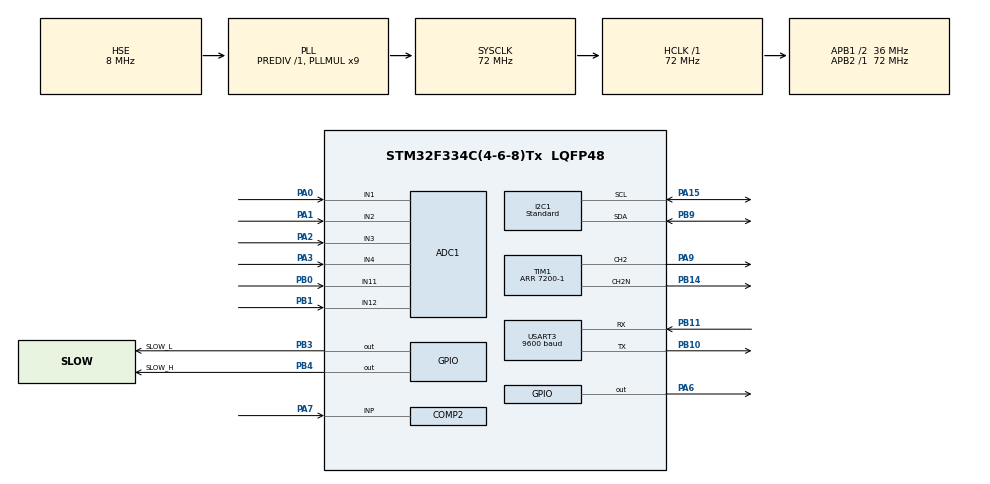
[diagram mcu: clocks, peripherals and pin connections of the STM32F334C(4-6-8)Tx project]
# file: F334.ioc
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ADC1.Channel-10\#ChannelRegularConversion=ADC_CHANNEL_11
ADC1.Channel-11\#ChannelRegularConversion=ADC_CHANNEL_12
ADC1.Channel-6\#ChannelRegularConversion=ADC_CHANNEL_1
ADC1.Channel-7\#ChannelRegularConversion=ADC_CHANNEL_2
ADC1.Channel-8\#ChannelRegularConversion=ADC_CHANNEL_3
ADC1.Channel-9\#ChannelRegularConversion=ADC_CHANNEL_4
ADC1.ContinuousConvMode=ENABLE
ADC1.EnableInjectedConversion=DISABLE
ADC1.EnableRegularConversion=ENABLE
ADC1.ExternalTrigConv=ADC_EXTERNALTRIGCONV_T6_TRGO
ADC1.NbrOfConversion=6
ADC1.NbrOfConversionFlag=1
ADC1.Offset-10\#ChannelRegularConversion=0
ADC1.Offset-11\#ChannelRegularConversion=0
ADC1.Offset-6\#ChannelRegularConversion=0
ADC1.Offset-7\#ChannelRegularConversion=0
ADC1.Offset-8\#ChannelRegularConversion=0
ADC1.Offset-9\#ChannelRegularConversion=0
ADC1.OffsetNumber-10\#ChannelRegularConversion=ADC_OFFSET_NONE
ADC1.OffsetNumber-11\#ChannelRegularConversion=ADC_OFFSET_NONE
ADC1.OffsetNumber-6\#ChannelRegularConversion=ADC_OFFSET_NONE
ADC1.OffsetNumber-7\#ChannelRegularConversion=ADC_OFFSET_NONE
ADC1.OffsetNumber-8\#ChannelRegularConversion=ADC_OFFSET_NONE
ADC1.OffsetNumber-9\#ChannelRegularConversion=ADC_OFFSET_NONE
ADC1.Rank-10\#ChannelRegularConversion=5
ADC1.Rank-11\#ChannelRegularConversion=6
ADC1.Rank-6\#ChannelRegularConversion=1
ADC1.Rank-7\#ChannelRegularConversion=2
ADC1.Rank-8\#ChannelRegularConversion=3
ADC1.Rank-9\#ChannelRegularConversion=4
ADC1.SamplingTime-10\#ChannelRegularConversion=ADC_SAMPLETIME_1CYCLE_5
ADC1.SamplingTime-11\#ChannelRegularConversion=ADC_SAMPLETIME_1CYCLE_5
ADC1.SamplingTime-6\#ChannelRegularConversion=ADC_SAMPLETIME_1CYCLE_5
ADC1.SamplingTime-7\#ChannelRegularConversion=ADC_SAMPLETIME_1CYCLE_5
ADC1.SamplingTime-8\#ChannelRegularConversion=ADC_SAMPLETIME_1CYCLE_5
ADC1.SamplingTime-9\#ChannelRegularConversion=ADC_SAMPLETIME_1CYCLE_5
ADC1.SamplingTimeOPAMP-10\#ChannelRegularConversion=ADC_SAMPLETIME_61CYCLES_5
ADC1.SamplingTimeOPAMP-11\#ChannelRegularConversion=ADC_SAMPLETIME_61CYCLES_5
ADC1.SamplingTimeOPAMP-7\#ChannelRegularConversion=ADC_SAMPLETIME_61CYCLES_5
ADC1.SamplingTimeOPAMP-8\#ChannelRegularConversion=ADC_SAMPLETIME_61CYCLES_5
ADC1.SamplingTimeOPAMP-9\#ChannelRegularConversion=ADC_SAMPLETIME_61CYCLES_5
ADC1.SubFamily=STM32F334x8
ADC1.master=1
COMP2.InvertingInput=COMP_INVERTINGINPUT_DAC1_CH2
COMP2.TriggerMode=COMP_TRIGGERMODE_IT_RISING
DAC1.DAC_Trigger2=DAC_TRIGGER_SOFTWARE
Dma.ADC1.0.Direction=DMA_PERIPH_TO_MEMORY
Dma.ADC1.0.Instance=DMA1_Channel1
Dma.ADC1.0.MemDataAlignment=DMA_MDATAALIGN_HALFWORD
Dma.ADC1.0.MemInc=DMA_MINC_ENABLE
Dma.ADC1.0.Mode=DMA_CIRCULAR
Dma.ADC1.0.PeriphDataAlignment=DMA_PDATAALIGN_HALFWORD
Dma.ADC1.0.PeriphInc=DMA_PINC_DISABLE
Dma.ADC1.0.Priority=DMA_PRIORITY_LOW
Dma.Request0=ADC1
Dma.Request1=USART3_RX
Dma.Request2=USART3_TX
Dma.USART3_RX.1.Direction=DMA_PERIPH_TO_MEMORY
Dma.USART3_RX.1.Instance=DMA1_Channel3
Dma.USART3_RX.1.MemDataAlignment=DMA_MDATAALIGN_BYTE
Dma.USART3_RX.1.MemInc=DMA_MINC_ENABLE
Dma.USART3_RX.1.Mode=DMA_NORMAL
Dma.USART3_RX.1.PeriphDataAlignment=DMA_PDATAALIGN_BYTE
Dma.USART3_RX.1.PeriphInc=DMA_PINC_DISABLE
Dma.USART3_RX.1.Priority=DMA_PRIORITY_LOW
Dma.USART3_TX.2.Direction=DMA_MEMORY_TO_PERIPH
Dma.USART3_TX.2.Instance=DMA1_Channel2
Dma.USART3_TX.2.MemDataAlignment=DMA_MDATAALIGN_BYTE
Dma.USART3_TX.2.MemInc=DMA_MINC_ENABLE
Dma.USART3_TX.2.Mode=DMA_NORMAL
Dma.USART3_TX.2.PeriphDataAlignment=DMA_PDATAALIGN_BYTE
Dma.USART3_TX.2.PeriphInc=DMA_PINC_DISABLE
Dma.USART3_TX.2.Priority=DMA_PRIORITY_LOW
I2C1.I2C_Speed_Mode=I2C_Standard
I2C1.Speed=80
I2C1.Timing=0x00101E3F
Mcu.Family=STM32F3
Mcu.Name=STM32F334C(4-6-8)Tx
Mcu.Package=LQFP48
NVIC.COMP2_IRQn=true\:1\:0\:true\:false\:true\:false\:true
NVIC.DMA1_Channel1_IRQn=true\:7\:0\:true\:false\:true\:false\:true
NVIC.DMA1_Channel2_IRQn=true\:0\:0\:false\:false\:true\:false\:true
NVIC.DMA1_Channel3_IRQn=true\:0\:0\:false\:false\:true\:false\:true
NVIC.PriorityGroup=NVIC_PRIORITYGROUP_4
NVIC.TIM1_TRG_COM_TIM17_IRQn=true\:1\:0\:true\:false\:true\:true\:true
NVIC.TIM1_UP_TIM16_IRQn=true\:0\:0\:false\:false\:true\:true\:true
NVIC.USART3_IRQn=true\:0\:0\:false\:false\:true\:true\:true
PA0.Mode=IN1-Single-Ended
PA0.Signal=ADC1_IN1
PA1.Mode=IN2-Single-Ended
PA1.Signal=ADC1_IN2
PA13.Mode=Serial_Wire
PA13.Signal=SYS_JTMS-SWDIO
PA14.Mode=Serial_Wire
PA14.Signal=SYS_JTCK-SWCLK
PA15.Mode=I2C
PA15.Signal=I2C1_SCL
PA2.Mode=IN3-Single-Ended
PA2.Signal=ADC1_IN3
PA3.Mode=IN4-Single-Ended
PA3.Signal=ADC1_IN4
PA6.Signal=GPIO_Output
PA7.Mode=INP
PA7.Signal=COMP2_INP
PA9.GPIO_Speed=GPIO_SPEED_FREQ_HIGH
PA9.Signal=S_TIM1_CH2
PB0.Mode=IN11-Single-Ended
PB0.Signal=ADC1_IN11
PB1.Mode=IN12-Single-Ended
PB1.Signal=ADC1_IN12
PB10.Mode=Asynchronous
PB10.Signal=USART3_TX
PB11.Mode=Asynchronous
PB11.Signal=USART3_RX
PB14.GPIO_Speed=GPIO_SPEED_FREQ_HIGH
PB14.Mode=PWM Generation2 CH2 CH2N
PB14.Signal=TIM1_CH2N
PB3.GPIO_Label=SLOW_L
PB3.GPIO_PuPd=GPIO_PULLDOWN
PB3.Signal=GPIO_Output
PB4.GPIO_Label=SLOW_H
PB4.GPIO_PuPd=GPIO_PULLDOWN
PB4.Signal=GPIO_Output
PB9.Mode=I2C
PB9.Signal=I2C1_SDA
PF0\ /\ OSC_IN.Mode=HSE-External-Oscillator
PF0\ /\ OSC_IN.Signal=RCC_OSC_IN
PF1\ /\ OSC_OUT.Mode=HSE-External-Oscillator
PF1\ /\ OSC_OUT.Signal=RCC_OSC_OUT
ProjectManager.HeapSize=0x200
ProjectManager.StackSize=0x400
ProjectManager.TargetToolchain=MDK-ARM V5
RCC.AHBFreq_Value=72000000
RCC.APB1CLKDivider=RCC_HCLK_DIV2
RCC.APB1Freq_Value=36000000
RCC.APB1TimFreq_Value=72000000
RCC.APB2Freq_Value=72000000
RCC.APB2TimFreq_Value=72000000
RCC.CortexFreq_Value=72000000
RCC.HCLKFreq_Value=72000000
RCC.HRTIMSelection=RCC_HRTIM1CLK_PLLCLK
RCC.HSE_VALUE=8000000
RCC.HSI_VALUE=8000000
RCC.LSE_VALUE=32768
RCC.PLLMUL=RCC_PLL_MUL9
RCC.PLLSourceVirtual=RCC_PLLSOURCE_HSE
RCC.SYSCLKFreq_VALUE=72000000
RCC.SYSCLKSourceVirtual=RCC_SYSCLKSOURCE_PLLCLK
SH.S_TIM1_CH2.0=TIM1_CH2,PWM Generation2 CH2 CH2N
TIM1.Channel-PWM\ Generation2\ CH2\ CH2N=TIM_CHANNEL_2
TIM1.DeadTime=50
TIM1.Period=7200-1
TIM15.Prescaler=72-1
TIM16.AutoReloadPreload=TIM_AUTORELOAD_PRELOAD_ENABLE
TIM16.Period=1000-1
TIM16.Prescaler=72-1
TIM17.AutoReloadPreload=TIM_AUTORELOAD_PRELOAD_ENABLE
TIM17.Period=3600-1
TIM17.Prescaler=0
TIM6.AutoReloadPreload=TIM_AUTORELOAD_PRELOAD_ENABLE
TIM6.Period=7200-1
TIM6.TIM_MasterOutputTrigger=TIM_TRGO_UPDATE
USART3.BaudRate=9600
USART3.VirtualMode-Asynchronous=VM_ASYNC
VP_COMP2_VS_DAC1OUT2.Mode=INM_DAC1OUT2
VP_DAC1_Switcher_Out2.Mode=Switch_Disable_OUT2
VP_TIM15_VS_ClockSourceINT.Mode=Internal
VP_TIM16_VS_ClockSourceINT.Mode=Enable_Timer
VP_TIM17_VS_ClockSourceINT.Mode=Enable_Timer
VP_TIM1_VS_ClockSourceINT.Mode=Internal
VP_TIM6_VS_ClockSourceINT.Mode=Enable_Timer
board=custom

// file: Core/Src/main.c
/* USER CODE BEGIN Header */
/**
  ******************************************************************************
  * @file           : main.c
  * @brief          : Main program body
  ******************************************************************************
  * @attention
  *
  * <h2><center>&copy; Copyright (c) 2021 STMicroelectronics.
  * All rights reserved.</center></h2>
  *
  * This software component is licensed by ST under BSD 3-Clause license,
  * the "License"; You may not use this file except in compliance with the
  * License. You may obtain a copy of the License at:
  *                        opensource.org/licenses/BSD-3-Clause
  *
  ******************************************************************************
  */
/* USER CODE END Header */
#include "main.h"
#include "adc.h"
#include "comp.h"
#include "dac.h"
#include "dma.h"
#include "i2c.h"
#include "tim.h"
#include "usart.h"
#include "gpio.h"

/* USER CODE BEGIN Includes */
#include "oled.h"
#include "pid.h"
#include "math.h"

/* USER CODE END Includes */

/* USER CODE BEGIN PM */
#define SPWM_NUM 400
#define DATA_LEN 5
#define DATA_CH_NUM 6

uint16_t MAX_PWM_DELT=100;
/* USER CODE END PM */

/* USER CODE BEGIN PV */

uint16_t adc_data[DATA_LEN][DATA_CH_NUM]={0};
uint16_t adc_data_fin[DATA_CH_NUM]={0};

pid_type_def pfc_pid;
const fp32 pfc_p_i_d[3]={0.0000,0.0000,0};

uint16_t vol_to_spwm;
float vol_set=10;

int32_t vol_in;
int32_t curr_in;
int8_t vol_in_polar=0;
int8_t vol_in_polar_last=0;

/* USER CODE END PV */

void SystemClock_Config(void);
/* USER CODE BEGIN PFP */

void set_PWM(uint16_t dutyA,uint16_t dutyB)
{
//		if((TIM1->CCR2-dutyA)>MAX_PWM_DELT)
//			TIM1->CCR2-=MAX_PWM_DELT;
//		else if((dutyA-TIM1->CCR2)>MAX_PWM_DELT)
//			TIM1->CCR2+=MAX_PWM_DELT;
//		else
//			TIM1->CCR2=dutyA;
	TIM1->CCR2=3600;
}
void set_slow_H(void)
{
	HAL_GPIO_WritePin(SLOW_L_GPIO_Port,SLOW_L_Pin,GPIO_PIN_RESET);
	{
		__NOP();
		__NOP();
		__NOP();
		__NOP();
		__NOP();
		__NOP();
		__NOP();
		__NOP();
		__NOP();
		__NOP();
		__NOP();
		__NOP();
		__NOP();
		__NOP();
		__NOP();
		__NOP();
		__NOP();
		__NOP();
		__NOP();
		__NOP();
	}
	HAL_GPIO_WritePin(SLOW_H_GPIO_Port,SLOW_H_Pin,GPIO_PIN_SET);
}

void set_slow_L(void)
{
	HAL_GPIO_WritePin(SLOW_H_GPIO_Port,SLOW_H_Pin,GPIO_PIN_RESET);
	{
		__NOP();
		__NOP();
		__NOP();
		__NOP();
		__NOP();
		__NOP();
		__NOP();
		__NOP();
		__NOP();
		__NOP();
		__NOP();
		__NOP();
		__NOP();
		__NOP();
		__NOP();
		__NOP();
		__NOP();
		__NOP();
		__NOP();
		__NOP();
	}
	HAL_GPIO_WritePin(SLOW_L_GPIO_Port,SLOW_L_Pin,GPIO_PIN_SET);
}

void HAL_TIM_PeriodElapsedCallback(TIM_HandleTypeDef *htim)
{

}
void HAL_ADC_ConvCpltCallback(ADC_HandleTypeDef* hadc)
{

	uint8_t i,j;
	uint16_t max,min;
	uint32_t sum;
	static float scale=1.0f;//510k/0.75k

	if(hadc==&hadc1)
	{
		HAL_GPIO_TogglePin(GPIOA,GPIO_PIN_6);

		for(i=0;i<DATA_CH_NUM;i++)
		{
			sum=0;
			max=0,min=4096;
			for(j=0;j<DATA_LEN;j++)
			{
				if(max<adc_data[j][i])
					max=adc_data[j][i];
				if(min>adc_data[j][i])
					min=adc_data[j][i];
				sum+=adc_data[j][i];
			}
			adc_data_fin[i]=(sum-max-min)/(DATA_LEN-2);
		}

		vol_in=1880-adc_data_fin[0];
		curr_in=adc_data_fin[2]-1838;

		if(vol_in<100&&vol_in>-100)
		{
			HAL_TIM_PWM_Stop(&htim1,TIM_CHANNEL_2);
			HAL_TIMEx_PWMN_Stop(&htim1,TIM_CHANNEL_2);
			HAL_GPIO_WritePin(GPIOB,GPIO_PIN_3|GPIO_PIN_4,GPIO_PIN_RESET);

			vol_in_polar_last=vol_in_polar;
			vol_in_polar=0;

			pfc_pid.Iout=0;
		}
		else
		{
			if(vol_in_polar==0&&vol_in>10)
			{
				HAL_TIM_PWM_Start(&htim1,TIM_CHANNEL_2);
				HAL_TIMEx_PWMN_Start(&htim1,TIM_CHANNEL_2);

				vol_in_polar_last=vol_in_polar;
				vol_in_polar=1;
				//HAL_GPIO_WritePin(GPIOA,GPIO_PIN_6,GPIO_PIN_SET);
				set_slow_L();
			}

			if(vol_in_polar==0&&vol_in<-10)
			{
				HAL_TIM_PWM_Start(&htim1,TIM_CHANNEL_2);
				HAL_TIMEx_PWMN_Start(&htim1,TIM_CHANNEL_2);

				vol_in_polar_last=vol_in_polar;
				vol_in_polar=-1;
				//HAL_GPIO_WritePin(GPIOA,GPIO_PIN_6,GPIO_PIN_RESET);
				set_slow_H();
			}
		}

		if(vol_in_polar==1)//pwm cannot too small
		{
			PID_calc(&pfc_pid,curr_in,vol_in);
			if(pfc_pid.out<0)
				pfc_pid.out=0;
			set_PWM(7199-pfc_pid.out,0);
		}

		if(vol_in_polar==-1)//pwm cannot too big
		{
			PID_calc(&pfc_pid,curr_in,vol_in);
			if(pfc_pid.out<0)
				pfc_pid.out=0;
			set_PWM(pfc_pid.out,0);
		}

		if(vol_in_polar==0)
		{

		}

		HAL_ADC_Start_DMA(&hadc1,(uint32_t*)adc_data,DATA_LEN*DATA_CH_NUM);
	}
}

/* USER CODE END PFP */

/* USER CODE BEGIN 0 */

float Irms=0;       //电流有效�?
float Vrms=0;       //电压有效�?
float Frequency=0;  //频率
float PowerFactor=1;//功率因数
float PActive=0;    //有功功率
double W_KWH=0;     //累积功�??

uint8_t  Uart2_RxBuf[50]={0};//串口接收缓存
uint32_t Uart2_RxCnt=0;//接收计数
uint8_t data_error=0;
uint8_t CmdTxBuf[]={0x55,0x55,0x01,0x02,0x00,0x00,0xAD};

uint8_t SUI_101A_Get(uint8_t adder){

	CmdTxBuf[2]=adder;
	Uart2_RxCnt=0;
	CmdTxBuf[6]=CmdTxBuf[0]+CmdTxBuf[1]+CmdTxBuf[2]+CmdTxBuf[3]+CmdTxBuf[4]+CmdTxBuf[5];//重新计算校验�?
	HAL_UART_Transmit_DMA(&huart3, CmdTxBuf,7);
	HAL_UART_Receive_DMA(&huart3, (uint8_t *)Uart2_RxBuf, 31);

//	printf(" | V:%10.05f | I:%10.05f | P:%10.05f | PF:%10.05f | F:%10.05f | W:%10.05f |\r\n",Vrms,Irms,PActive,PowerFactor,Frequency,W_KWH);
	return 0;
}

void HAL_UART_RxCpltCallback(UART_HandleTypeDef *huart)
{
	uint8_t t=20;
	uint8_t rxlen=0;
	uint8_t i=0;
	uint8_t sum=0;
	uint8_t n=0;
	while(t)
	{
		t--;
		rxlen=31;
//		if((rxlen==Uart2_RxCnt)&&(rxlen!=0)){//接收到了数据,且接收完成了
//			if(rxlen==(Uart2_RxBuf[5]+7)){
//				//数据长度正确
//			}
//			else{
//				data_error=3;
//			}
			sum=0;
			rxlen-=1;//除去校验位的长度
			for(i=0;i<rxlen;i++){
				sum+=Uart2_RxBuf[i];
			}
			if(sum==Uart2_RxBuf[rxlen]){//校验和正硿
				Vrms=(double)(((uint32_t)Uart2_RxBuf[6] <<24)|((uint32_t)Uart2_RxBuf[7] <<16)|((uint32_t)Uart2_RxBuf[8] <<8)|((uint32_t)Uart2_RxBuf[9] <<0))/1000.0;
				Irms=(double)(((uint32_t)Uart2_RxBuf[10]<<24)|((uint32_t)Uart2_RxBuf[11]<<16)|((uint32_t)Uart2_RxBuf[12]<<8)|((uint32_t)Uart2_RxBuf[13]<<0))/1000.0;
				PActive=(double)(((uint32_t)Uart2_RxBuf[14]<<24)|((uint32_t)Uart2_RxBuf[15]<<16)|((uint32_t)Uart2_RxBuf[16]<<8)|((uint32_t)Uart2_RxBuf[17]<<0))/1000.0;
				n=18;
				PowerFactor=(double)(int32_t)(((int32_t)Uart2_RxBuf[n++]<<24)|((int32_t)Uart2_RxBuf[n++]<<16)|((int32_t)Uart2_RxBuf[n++]<<8)|((int32_t)Uart2_RxBuf[n++]<<0))/10000.0;
				Frequency=(double)(((uint32_t)Uart2_RxBuf[n++]<<24)|((uint32_t)Uart2_RxBuf[n++]<<16)|((uint32_t)Uart2_RxBuf[n++]<<8)|((uint32_t)Uart2_RxBuf[n++]<<0))/1000.0;
				W_KWH=(double)(((uint32_t)Uart2_RxBuf[n++]<<24)|((uint32_t)Uart2_RxBuf[n++]<<16)|((uint32_t)Uart2_RxBuf[n++]<<8)|((uint32_t)Uart2_RxBuf[n++]<<0))/10000.0;
			}
			else{//数据校验错误
				data_error=1;
			}
			break;
		}
//	}
}
/* USER CODE END 0 */

int main(void)
{

  /* MCU Configuration--------------------------------------------------------*/

  /* Reset of all peripherals, Initializes the Flash interface and the Systick. */
  HAL_Init();

  /* Configure the system clock */
  SystemClock_Config();

  /* Initialize all configured peripherals */
  MX_GPIO_Init();
  MX_DMA_Init();
  MX_TIM17_Init();
  MX_ADC1_Init();
  MX_COMP2_Init();
  MX_DAC1_Init();
  MX_I2C1_Init();
  MX_TIM16_Init();
  MX_TIM15_Init();
  MX_TIM6_Init();
  MX_TIM1_Init();
  MX_USART3_UART_Init();
  /* USER CODE BEGIN 2 */

	PID_init(&pfc_pid,PID_DELTA,pfc_p_i_d,7200-1,7200-1);

	HAL_GPIO_WritePin(SLOW_L_GPIO_Port,SLOW_L_Pin,GPIO_PIN_RESET);
	HAL_GPIO_WritePin(SLOW_H_GPIO_Port,SLOW_H_Pin,GPIO_PIN_RESET);
	HAL_GPIO_WritePin(GPIOA,GPIO_PIN_6,GPIO_PIN_RESET);

	HAL_TIM_PWM_Start(&htim1,TIM_CHANNEL_2);
	HAL_TIMEx_PWMN_Start(&htim1,TIM_CHANNEL_2);

	HAL_TIM_Base_Start(&htim6);
	HAL_TIM_Base_Start_IT(&htim17);
	HAL_TIM_Base_Start_IT(&htim16);
	HAL_ADC_Start_DMA(&hadc1,(uint32_t*)adc_data,DATA_LEN*DATA_CH_NUM);

//	OLED_Init();
//	OLED_Display_On();
//	OLED_printf(0,0,16,"Hello World.");

  /* USER CODE END 2 */

  /* Infinite loop */
  /* USER CODE BEGIN WHILE */
  while (1)
  {
	SUI_101A_Get(1);
	  HAL_Delay(500);
    /* USER CODE END WHILE */

  }
}

void SystemClock_Config(void)
{
  RCC_OscInitTypeDef RCC_OscInitStruct = {0};
  RCC_ClkInitTypeDef RCC_ClkInitStruct = {0};
  RCC_PeriphCLKInitTypeDef PeriphClkInit = {0};

  /** Initializes the RCC Oscillators according to the specified parameters
  * in the RCC_OscInitTypeDef structure.
  */
  RCC_OscInitStruct.OscillatorType = RCC_OSCILLATORTYPE_HSI|RCC_OSCILLATORTYPE_HSE;
  RCC_OscInitStruct.HSEState = RCC_HSE_ON;
  RCC_OscInitStruct.HSEPredivValue = RCC_HSE_PREDIV_DIV1;
  RCC_OscInitStruct.HSIState = RCC_HSI_ON;
  RCC_OscInitStruct.HSICalibrationValue = RCC_HSICALIBRATION_DEFAULT;
  RCC_OscInitStruct.PLL.PLLState = RCC_PLL_ON;
  RCC_OscInitStruct.PLL.PLLSource = RCC_PLLSOURCE_HSE;
  RCC_OscInitStruct.PLL.PLLMUL = RCC_PLL_MUL9;
  if (HAL_RCC_OscConfig(&RCC_OscInitStruct) != HAL_OK)
  {
    Error_Handler();
  }
  /** Initializes the CPU, AHB and APB buses clocks
  */
  RCC_ClkInitStruct.ClockType = RCC_CLOCKTYPE_HCLK|RCC_CLOCKTYPE_SYSCLK
                              |RCC_CLOCKTYPE_PCLK1|RCC_CLOCKTYPE_PCLK2;
  RCC_ClkInitStruct.SYSCLKSource = RCC_SYSCLKSOURCE_PLLCLK;
  RCC_ClkInitStruct.AHBCLKDivider = RCC_SYSCLK_DIV1;
  RCC_ClkInitStruct.APB1CLKDivider = RCC_HCLK_DIV2;
  RCC_ClkInitStruct.APB2CLKDivider = RCC_HCLK_DIV1;

  if (HAL_RCC_ClockConfig(&RCC_ClkInitStruct, FLASH_LATENCY_2) != HAL_OK)
  {
    Error_Handler();
  }
  PeriphClkInit.PeriphClockSelection = RCC_PERIPHCLK_I2C1|RCC_PERIPHCLK_TIM1
                              |RCC_PERIPHCLK_ADC12;
  PeriphClkInit.Adc12ClockSelection = RCC_ADC12PLLCLK_DIV1;
  PeriphClkInit.I2c1ClockSelection = RCC_I2C1CLKSOURCE_HSI;
  PeriphClkInit.Tim1ClockSelection = RCC_TIM1CLK_HCLK;
  if (HAL_RCCEx_PeriphCLKConfig(&PeriphClkInit) != HAL_OK)
  {
    Error_Handler();
  }
}

void Error_Handler(void)
{
  __disable_irq();
  while (1)
  {
  }
}

/************************ (C) COPYRIGHT STMicroelectronics *****END OF FILE****/
